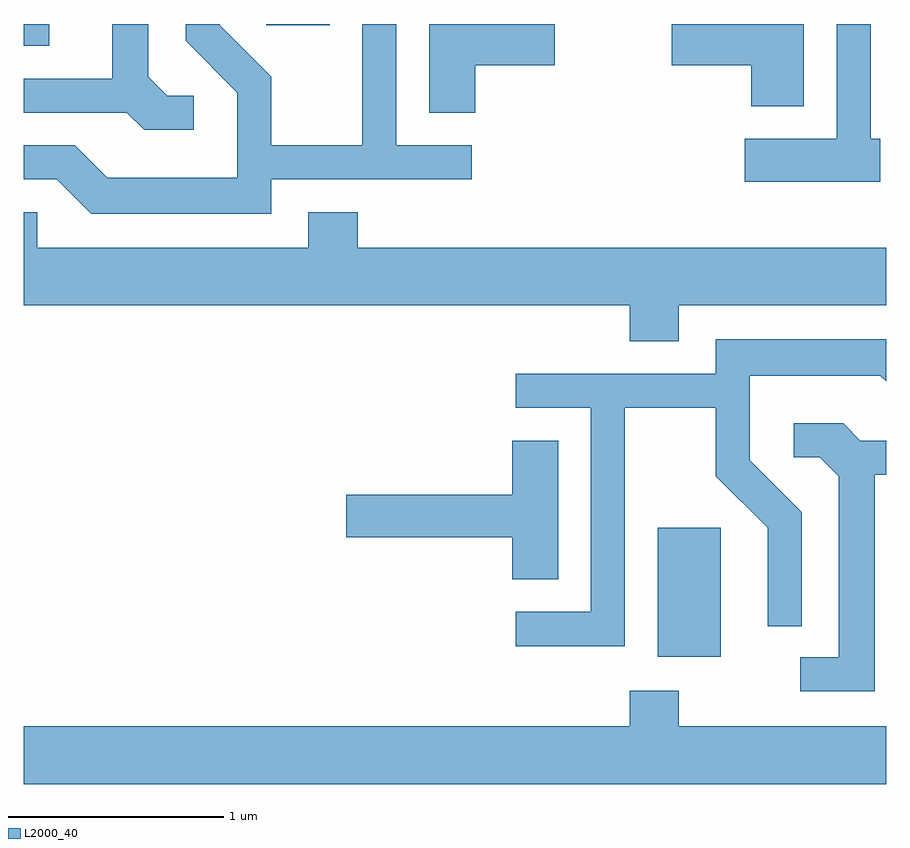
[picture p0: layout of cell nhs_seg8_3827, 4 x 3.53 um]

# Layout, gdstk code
import gdstk
lib = gdstk.Library(unit=1e-6, precision=1e-09)
def R(c, l, rs):  # rectangles x0, y0, x1, y1
    for r in rs: c.add(gdstk.rectangle(r[:2], r[2:], *l))
def P(c, l, *ps):  # polygons
    for p in ps: c.add(gdstk.Polygon(p, *l))
L2000_40 = (2000, 40)

nhs_seg8_3827 = lib.new_cell('nhs_seg8_3827')
R(nhs_seg8_3827, L2000_40, [(302.551,1881.406,302.844,1882.004), (299.611,1884.241,299.729,1884.342), (300.736,1884.336,301.029,1884.342)])
P(nhs_seg8_3827, L2000_40, [(303.229,1884.342),(302.616,1884.342),(302.616,1884.151),(302.986,1884.151),(302.986,1883.961),(303.229,1883.961)],
  [(300.759,1883.621),(301.688,1883.621),(301.688,1883.779),(301.339,1883.779),(301.339,1884.342),(301.181,1884.342),(301.181,1883.779),(300.759,1883.779),(300.759,1884.097),(300.519,1884.337),(300.519,1884.342),(300.361,1884.342),(300.361,1884.264),(300.601,1884.024),(300.601,1883.629),(299.997,1883.629),(299.847,1883.779),(299.611,1883.779),(299.611,1883.621),(299.764,1883.621),(299.924,1883.461),(300.759,1883.461)],
  [(300.398,1884.009),(300.277,1884.009),(300.189,1884.097),(300.189,1884.342),(300.021,1884.342),(300.021,1884.089),(299.611,1884.089),(299.611,1883.931),(300.089,1883.931),(300.169,1883.851),(300.398,1883.851)],
  [(303.584,1883.809),(303.539,1883.809),(303.539,1884.342),(303.381,1884.342),(303.381,1883.809),(302.956,1883.809),(302.956,1883.611),(303.584,1883.611)],
  [(301.704,1884.151),(302.074,1884.151),(302.074,1884.342),(301.491,1884.342),(301.491,1883.931),(301.704,1883.931)],
  [(302.649,1883.036),(303.611,1883.036),(303.611,1883.304),(301.159,1883.304),(301.159,1883.469),(300.931,1883.469),(300.931,1883.304),(299.674,1883.304),(299.674,1883.469),(299.611,1883.469),(299.611,1883.036),(302.421,1883.036),(302.421,1882.871),(302.649,1882.871)],
  [(302.399,1882.561),(302.821,1882.561),(302.821,1882.244),(303.061,1882.004),(303.061,1881.548),(303.219,1881.548),(303.219,1882.077),(302.979,1882.317),(302.979,1882.711),(303.584,1882.711),(303.611,1882.684),(303.611,1882.879),(302.821,1882.879),(302.821,1882.719),(301.893,1882.719),(301.893,1882.561),(302.241,1882.561),(302.241,1881.614),(301.893,1881.614),(301.893,1881.456),(302.399,1881.456)],
  [(303.559,1882.251),(303.611,1882.251),(303.611,1882.409),(303.492,1882.409),(303.412,1882.489),(303.183,1882.489),(303.183,1882.331),(303.304,1882.331),(303.391,1882.244),(303.391,1881.404),(303.213,1881.404),(303.213,1881.246),(303.559,1881.246)],
  [(302.089,1882.409),(301.876,1882.409),(301.876,1882.159),(301.106,1882.159),(301.106,1881.961),(301.876,1881.961),(301.876,1881.766),(302.089,1881.766)],
  [(303.611,1881.084),(302.649,1881.084),(302.649,1881.249),(302.421,1881.249),(302.421,1881.084),(299.611,1881.084),(299.611,1880.816),(303.611,1880.816)])

lib.write_gds('nhs_seg8_3827.gds')
